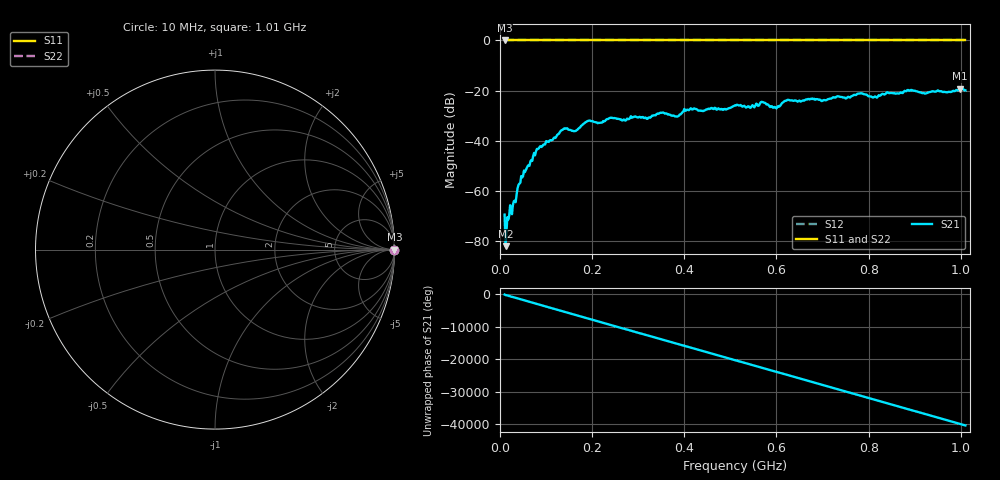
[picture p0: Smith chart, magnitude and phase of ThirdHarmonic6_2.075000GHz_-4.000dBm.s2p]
! 8/17/2025 12:50:55 AM
! C:\ANRITSUVNA\TEMP\TEMP.S2P
! CHANNEL.1
! TR.MEASUREMENT
! RAW.DATA
! RF.CORRECTION.OFF
! AVERAGING.OFF
! IF.BANDWIDTH: 5KHZ
! SWEEPTYPE:  FREQ.SWEEP(Linear)
! Reference Plane Port Info
! PORT:  PORT1  PORT2
! DISTANCE:  0  m  0  m
! TIME:  0  s  0  s
! PHASE.OFFSET:  0  deg.  0  deg.
! LOSS:  0  dB  0  dB
! REF.LOSS:  0  dB  0  dB
! REF.FREQ:  0  Hz  0  Hz
! Power Info
! POWER:  -20  dBm  -20  dBm
! EFF.POWER:  -20  dBm  -20  dBm
! SOURCE.ATTEN:  0  dB  0  dB
! TEST.ATTEN:  0  dB  0  dB
# GHZ S RI R 50.0
! FREQ.GHZ  S11RE  S11IM  S21RE  S21IM  S12RE  S12IM  S22RE  S22IM
!; PortSelection: Port_12
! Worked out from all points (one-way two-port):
!   501 points, 10 MHz to 1.01 GHz, reference 50 ohm
!   highest |S21| = -19.14 dB at 998 MHz (marker M1); lowest = -81.9 dB at 12 MHz (marker M2)
!   lowest |S11| = 0.0 dB at 10 MHz (marker M3)
!   |S11| at or under -10 dB: nowhere
!   |S22| runs from 0.0 to 0.0 dB; largest |S21 - S12| = 1.1
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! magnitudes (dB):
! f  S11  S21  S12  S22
! 10 MHz  0.0  -69.4  0.0  0.0
! 12 MHz  0.0  -81.9  0.0  0.0
! 16 MHz  0.0  -70.4  0.0  0.0
! 20 MHz  0.0  -69.7  0.0  0.0
! 30 MHz  0.0  -64.0  0.0  0.0
! 42 MHz  0.0  -57.1  0.0  0.0
! 50 MHz  0.0  -54.1  0.0  0.0
! 82 MHz  0.0  -43.2  0.0  0.0
! 136 MHz  0.0  -35.6  0.0  0.0
! 162 MHz  0.0  -36.1  0.0  0.0
! 178 MHz  0.0  -33.8  0.0  0.0
! 344 MHz  0.0  -29.2  0.0  0.0
! 384 MHz  0.0  -30.3  0.0  0.0
! 404 MHz  0.0  -27.9  0.0  0.0
! 510 MHz  0.0  -25.8  0.0  0.0
! 570 MHz  0.0  -24.5  0.0  0.0
! 596 MHz  0.0  -26.5  0.0  0.0
! 622 MHz  0.0  -23.9  0.0  0.0
! 678 MHz  0.0  -23.1  0.0  0.0
! 844 MHz  0.0  -21.0  0.0  0.0
! 998 MHz  0.0  -19.1  0.0  0.0
! 1.01 GHz  0.0  -19.9  0.0  0.0
